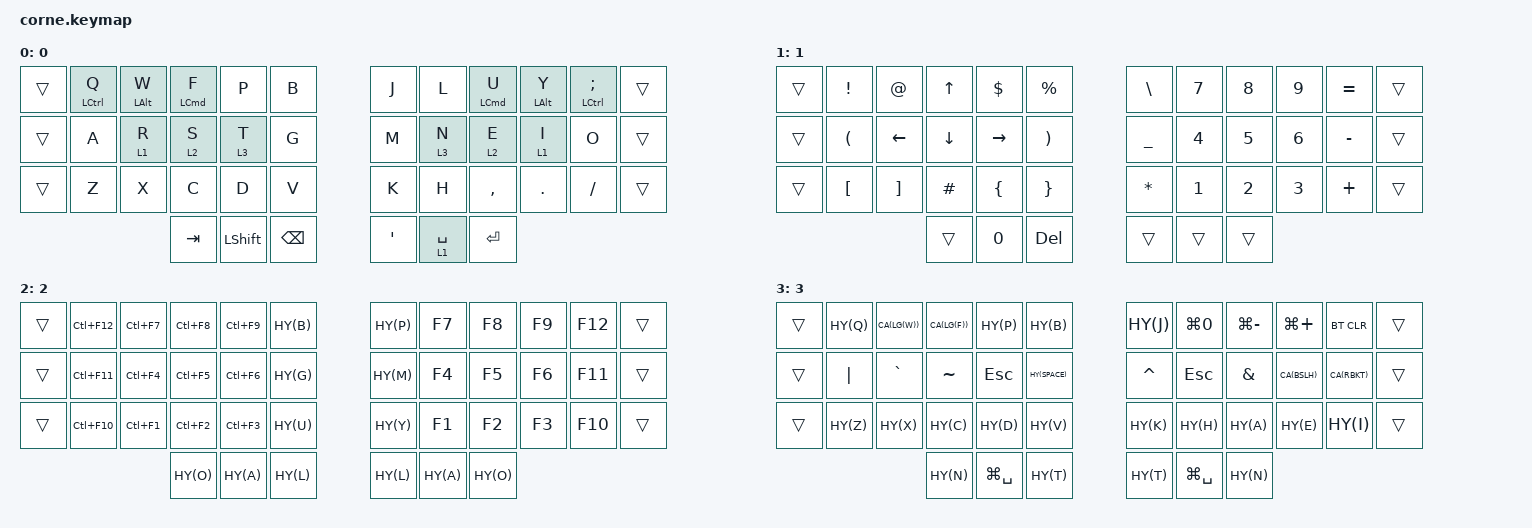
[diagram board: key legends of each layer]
/*
 * Copyright (c) 2020 The ZMK Contributors
 *
 * SPDX-License-Identifier: MIT
 */

#include <behaviors.dtsi>
#include <dt-bindings/zmk/keys.h>
#include <dt-bindings/zmk/bt.h>

#define CA(key) LC(LA(key))
#define HY(key) CA(LS(LG(key)))

#define LH 0 1 2 3 4 5 12 13 14 15 16 17 24 25 26 27 28 29 36 37 38
#define RH 6 7 8 9 10 11 18 19 20 21 22 23 30 31 32 33 34 35 39 40 41
#define PRIOR_IDLE 75
#define TAP_TERM 225

/ {
        behaviors {
                lh_lt: lh_positional_layer_tap {
                    compatible = "zmk,behavior-hold-tap";
                    label = "LEFT_HAND_LAYER_TAP";
                    #binding-cells = <2>;
                    flavor = "tap-preferred";
                    tapping-term-ms = <TAP_TERM>;
                    require-prior-idle-ms = <PRIOR_IDLE>;
                    bindings = <&mo>, <&kp>;
                    hold-trigger-key-positions = <RH>;
                };
                rh_lt: rh_positional_layer_tap {
                    compatible = "zmk,behavior-hold-tap";
                    label = "RIGHT_HAND_LAYER_TAP";
                    #binding-cells = <2>;
                    flavor = "tap-preferred";
                    tapping-term-ms = <TAP_TERM>;
                    require-prior-idle-ms = <PRIOR_IDLE>;
                    bindings = <&mo>, <&kp>;
                    hold-trigger-key-positions = <LH>;
                };
                lh_mt: lh_positional_mod_tap {
                    compatible = "zmk,behavior-hold-tap";
                    label = "LEFT_HAND_MOD_TAP";
                    #binding-cells = <2>;
                    flavor = "tap-preferred";
                    tapping-term-ms = <TAP_TERM>;
                    require-prior-idle-ms = <PRIOR_IDLE>;
                    bindings = <&kp>, <&kp>;
                    hold-trigger-key-positions = <RH>;
                    hold-trigger-on-release;
                };
                rh_mt: rh_positional_mod_tap {
                    compatible = "zmk,behavior-hold-tap";
                    label = "RIGHT_HAND_MOD_TAP";
                    #binding-cells = <2>;
                    flavor = "tap-preferred";
                    tapping-term-ms = <TAP_TERM>;
                    require-prior-idle-ms = <PRIOR_IDLE>;
                    bindings = <&kp>, <&kp>;
                    hold-trigger-key-positions = <LH>;
                    hold-trigger-on-release;
                };
        };
        keymap {
                compatible = "zmk,keymap";

                default_layer {
                        display-name = "0";
                        bindings = <
   &trans &lh_mt LCTRL Q &lh_mt LALT W &lh_mt LCMD F &kp P      &kp B    &kp J   &kp L       &rh_mt LCMD U &rh_mt LALT Y &rh_mt LCTRL SEMI &trans
   &trans &kp A          &lh_lt 1 R    &lh_lt 2 S    &lh_lt 3 T &kp G    &kp M   &rh_lt 3 N  &rh_lt 2 E    &rh_lt 1 I    &kp O             &trans
   &trans &kp Z          &kp X         &kp C         &kp D      &kp V    &kp K   &kp H       &kp COMMA     &kp DOT       &kp FSLH          &trans
                                       &kp TAB       &kp LSHFT  &kp BSPC &kp SQT &lt 1 SPACE &kp RET
                        >;
                };
                1_layer {
                        display-name = "1";
                        bindings = <
   &trans  &kp EXCL &kp AT   &kp UP   &kp DLLR  &kp PRCNT &kp BSLH  &kp N7 &kp N8 &kp N9 &kp EQUAL &trans
   &trans  &kp LPAR &kp LEFT &kp DOWN &kp RIGHT &kp RPAR  &kp UNDER &kp N4 &kp N5 &kp N6 &kp MINUS &trans
   &trans  &kp LBKT &kp RBKT &kp HASH &kp LBRC  &kp RBRC  &kp ASTRK &kp N1 &kp N2 &kp N3 &kp PLUS  &trans
                             &trans   &kp N0    &kp DEL   &trans    &trans &trans
                        >;
                };

                2_layer {
                        display-name = "2";
                        bindings = <
   &trans  &kp LC(F12) &kp LC(F7) &kp LC(F8) &kp LC(F9) &kp HY(B) &kp HY(P) &kp F7    &kp F8    &kp F9 &kp F12 &trans
   &trans  &kp LC(F11) &kp LC(F4) &kp LC(F5) &kp LC(F6) &kp HY(G) &kp HY(M) &kp F4    &kp F5    &kp F6 &kp F11 &trans
   &trans  &kp LC(F10) &kp LC(F1) &kp LC(F2) &kp LC(F3) &kp HY(U) &kp HY(Y) &kp F1    &kp F2    &kp F3 &kp F10 &trans
                  	              &kp HY(O)  &kp HY(A)  &kp HY(L) &kp HY(L) &kp HY(A) &kp HY(O)
                        >;
                };
                3_layer {
                        display-name = "3";
                        bindings = <
   &trans  &kp HY(Q) &kp CA(LG(W)) &kp CA(LG(F)) &kp HY(P)     &kp HY(B)     &kp HY(J) &kp LG(N0)    &kp LG(MINUS) &kp LG(PLUS) &bt BT_CLR   &trans
   &trans  &kp PIPE  &kp GRAVE     &kp TILDE     &kp ESC       &kp HY(SPACE) &kp CARET &kp ESC       &kp AMPS      &kp CA(BSLH) &kp CA(RBKT) &trans
   &trans  &kp HY(Z) &kp HY(X)     &kp HY(C)     &kp HY(D)     &kp HY(V)     &kp HY(K) &kp HY(H)     &kp HY(A)     &kp HY(E)    &kp HY(I)    &trans
                  	               &kp HY(N)     &kp LG(SPACE) &kp HY(T)     &kp HY(T) &kp LG(SPACE) &kp HY(N)
                        >;
                };
        };
};
